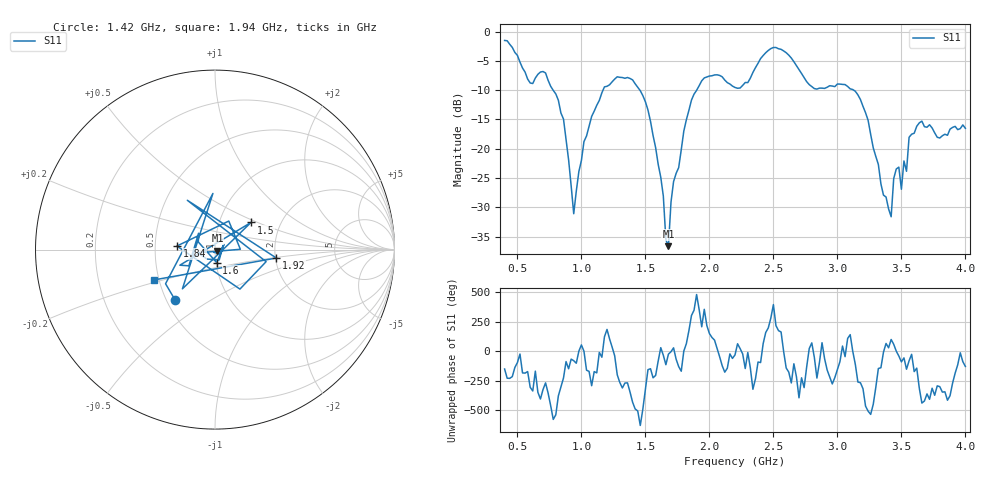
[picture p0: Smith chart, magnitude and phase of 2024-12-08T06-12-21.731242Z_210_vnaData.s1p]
!Created with skrf (http://scikit-rf.org).
# Hz S RI R 50.0
!freq ReS11 ImS11
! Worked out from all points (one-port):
!   181 points, 400 MHz to 4 GHz, reference 50 ohm
!   lowest |S11| = -36.6 dB at 1.68 GHz (marker M1), VSWR 1.03, Z = 51.4 - j0.624 ohm
!   |S11| at or under -10 dB: 779 MHz to 1.169 GHz (389.8 MHz wide, 40 % of centre); 1.457 GHz to 1.901 GHz (443.9 MHz wide, 26.4 % of centre); 3.127 GHz to end of sweep
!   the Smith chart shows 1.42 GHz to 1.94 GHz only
!   S11 on the Smith chart (normalised r, x): 1.42 GHz: 0.55, -0.36; 1.5 GHz: 1.42, +0.46; 1.6 GHz: 1.01, -0.15; 1.84 GHz: 0.65, +0.03; 1.92 GHz: 2.02, -0.22; 1.94 GHz: 0.47, -0.19
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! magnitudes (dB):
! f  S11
! 400 MHz  -1.5
! 600 MHz  -8.8
! 720 MHz  -7.1
! 860 MHz  -14.9
! 940 MHz  -31.1
! 1.08 GHz  -14.5
! 1.3 GHz  -7.8
! 1.42 GHz  -8.9
! 1.5 GHz  -12.0
! 1.6 GHz  -22.7
! 1.68 GHz  -36.6
! 1.72 GHz  -25.6
! 1.76 GHz  -23.2
! 1.84 GHz  -13.4
! 1.92 GHz  -9.2
! 1.94 GHz  -8.4
! 2.2 GHz  -9.5
! 2.48 GHz  -2.9
! 2.66 GHz  -5.1
! 2.82 GHz  -9.7
! 3.1 GHz  -9.8
! 3.24 GHz  -15.2
! 3.42 GHz  -31.6
! 3.44 GHz  -25.1
! 3.48 GHz  -23.1
! 3.5 GHz  -26.9
! 3.56 GHz  -18.0
! 4 GHz  -16.5
